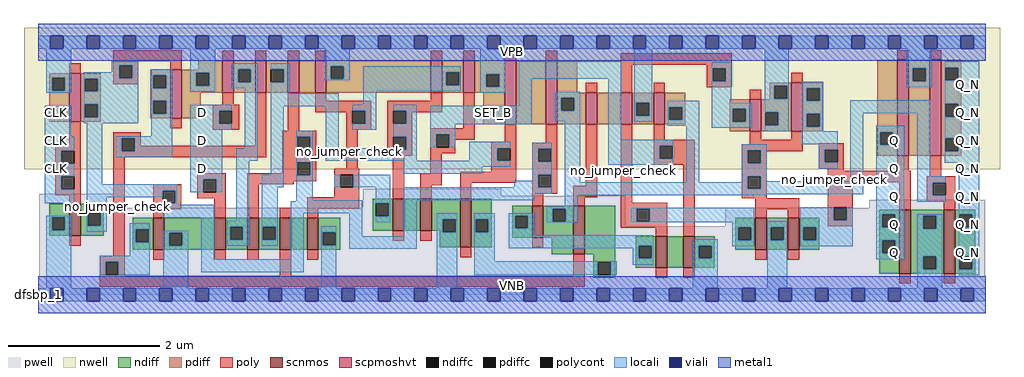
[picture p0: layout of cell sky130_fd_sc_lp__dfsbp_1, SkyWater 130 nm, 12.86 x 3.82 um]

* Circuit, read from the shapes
.subckt sky130_fd_sc_lp__dfsbp_1 CLK D SET_B VGND VNB VPB VPWR Q Q_N
XM1 n1 CLK VGND VNB sky130_fd_pr__nfet_01v8 w=0.42 l=0.15
XM2 VGND n1 n2 VNB sky130_fd_pr__nfet_01v8 w=0.42 l=0.15
XM3 n3 D VGND VNB sky130_fd_pr__nfet_01v8 w=0.42 l=0.15
XM4 n4 n1 n3 VNB sky130_fd_pr__nfet_01v8 w=0.42 l=0.15
XM5 n5 n2 n4 VNB sky130_fd_pr__nfet_01v8 w=0.42 l=0.15
XM6 VGND n6 n5 VNB sky130_fd_pr__nfet_01v8 w=0.42 l=0.15
XM7 n7 n4 n6 VNB sky130_fd_pr__nfet_01v8 w=0.42 l=0.15
XM8 VGND SET_B n7 VNB sky130_fd_pr__nfet_01v8 w=0.42 l=0.15
XM9 n8 n4 VGND VNB sky130_fd_pr__nfet_01v8 w=0.64 l=0.15
XM10 n9 n1 n10 VNB sky130_fd_pr__nfet_01v8 w=0.42 l=0.15
XM11 n8 n2 n9 VNB sky130_fd_pr__nfet_01v8 w=0.64 l=0.15
XM12 n11 n12 n10 VNB sky130_fd_pr__nfet_01v8 w=0.42 l=0.15
XM13 VGND SET_B n11 VNB sky130_fd_pr__nfet_01v8 w=0.42 l=0.15
XM14 VGND n9 n12 VNB sky130_fd_pr__nfet_01v8 w=0.42 l=0.15
XM15 n13 n9 VGND VNB sky130_fd_pr__nfet_01v8 w=0.42 l=0.15
XM16 VGND n13 Q VNB sky130_fd_pr__nfet_01v8 w=0.84 l=0.15
XM17 Q_N n9 VGND VNB sky130_fd_pr__nfet_01v8 w=0.84 l=0.15
XM18 n1 CLK VPWR VPB sky130_fd_pr__pfet_01v8_hvt w=0.64 l=0.15
XM19 VPWR n1 n2 VPB sky130_fd_pr__pfet_01v8_hvt w=0.64 l=0.15
XM20 n3 D VPWR VPB sky130_fd_pr__pfet_01v8_hvt w=0.42 l=0.15
XM21 n4 n2 n3 VPB sky130_fd_pr__pfet_01v8_hvt w=0.42 l=0.15
XM22 n14 n1 n4 VPB sky130_fd_pr__pfet_01v8_hvt w=0.42 l=0.15
XM23 VPWR n6 n14 VPB sky130_fd_pr__pfet_01v8_hvt w=0.42 l=0.15
XM24 n6 n4 VPWR VPB sky130_fd_pr__pfet_01v8_hvt w=0.42 l=0.15
XM25 VPWR SET_B n6 VPB sky130_fd_pr__pfet_01v8_hvt w=0.42 l=0.15
XM26 n15 n4 VPWR VPB sky130_fd_pr__pfet_01v8_hvt w=0.84 l=0.15
XM27 n9 n1 n15 VPB sky130_fd_pr__pfet_01v8_hvt w=0.84 l=0.15
XM28 n16 n2 n9 VPB sky130_fd_pr__pfet_01v8_hvt w=0.42 l=0.15
XM29 VPWR n12 n16 VPB sky130_fd_pr__pfet_01v8_hvt w=0.42 l=0.15
XM30 n9 SET_B VPWR VPB sky130_fd_pr__pfet_01v8_hvt w=0.42 l=0.15
XM31 VPWR n9 n12 VPB sky130_fd_pr__pfet_01v8_hvt w=0.42 l=0.15
XM32 n13 n9 VPWR VPB sky130_fd_pr__pfet_01v8_hvt w=0.64 l=0.15
XM33 VPWR n13 Q VPB sky130_fd_pr__pfet_01v8_hvt w=1.26 l=0.15
XM34 Q_N n9 VPWR VPB sky130_fd_pr__pfet_01v8_hvt w=1.26 l=0.15
.ends

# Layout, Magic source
magic
tech sky130A
magscale 1 2
<< nwell >>
rect -38 331 2534 704
<< pwell >>
rect 2 229 198 266
rect 855 261 1220 279
rect 855 229 1546 261
rect 2190 229 2495 250
rect 2 181 1546 229
rect 1810 181 2495 229
rect 2 49 2495 181
rect 0 0 2496 49
<< scnmos >>
rect 81 156 111 240
rect 302 119 332 203
rect 464 119 494 203
rect 550 119 580 203
rect 636 119 666 203
rect 708 119 738 203
rect 934 169 964 253
rect 1006 169 1036 253
rect 1111 125 1141 253
rect 1301 151 1331 235
rect 1410 107 1440 235
rect 1627 71 1657 155
rect 1699 71 1729 155
rect 1889 119 1919 203
rect 1975 119 2005 203
rect 2269 56 2299 224
rect 2386 56 2416 224
<< scpmoshvt >>
rect 81 456 111 584
rect 348 465 378 593
rect 485 533 515 617
rect 571 533 601 617
rect 657 533 687 617
rect 729 533 759 617
rect 1034 533 1064 617
rect 1120 533 1150 617
rect 1229 449 1259 617
rect 1337 449 1367 617
rect 1442 449 1472 533
rect 1535 449 1565 533
rect 1621 449 1651 533
rect 1875 431 1905 515
rect 1984 431 2014 559
rect 2263 367 2293 619
rect 2349 367 2379 619
<< ndiff >>
rect 28 204 81 240
rect 28 170 36 204
rect 70 170 81 204
rect 28 156 81 170
rect 111 216 172 240
rect 111 182 130 216
rect 164 182 172 216
rect 111 156 172 182
rect 881 241 934 253
rect 881 207 889 241
rect 923 207 934 241
rect 249 173 302 203
rect 249 139 257 173
rect 291 139 302 173
rect 249 119 302 139
rect 332 164 464 203
rect 332 130 345 164
rect 379 130 464 164
rect 332 119 464 130
rect 494 179 550 203
rect 494 145 505 179
rect 539 145 550 179
rect 494 119 550 145
rect 580 179 636 203
rect 580 145 591 179
rect 625 145 636 179
rect 580 119 636 145
rect 666 119 708 203
rect 738 165 795 203
rect 881 169 934 207
rect 964 169 1006 253
rect 1036 199 1111 253
rect 1036 169 1066 199
rect 738 131 749 165
rect 783 131 795 165
rect 1058 165 1066 169
rect 1100 165 1111 199
rect 738 119 795 131
rect 1058 125 1111 165
rect 1141 199 1194 253
rect 1141 165 1152 199
rect 1186 165 1194 199
rect 1141 125 1194 165
rect 1248 209 1301 235
rect 1248 175 1256 209
rect 1290 175 1301 209
rect 1248 151 1301 175
rect 1331 227 1410 235
rect 1331 193 1356 227
rect 1390 193 1410 227
rect 1331 151 1410 193
rect 1353 107 1410 151
rect 1440 107 1520 235
rect 1836 178 1889 203
rect 1462 87 1520 107
rect 1462 53 1474 87
rect 1508 53 1520 87
rect 1574 130 1627 155
rect 1574 96 1582 130
rect 1616 96 1627 130
rect 1574 71 1627 96
rect 1657 71 1699 155
rect 1729 130 1782 155
rect 1729 96 1740 130
rect 1774 96 1782 130
rect 1836 144 1844 178
rect 1878 144 1889 178
rect 1836 119 1889 144
rect 1919 178 1975 203
rect 1919 144 1930 178
rect 1964 144 1975 178
rect 1919 119 1975 144
rect 2005 178 2058 203
rect 2216 212 2269 224
rect 2005 144 2016 178
rect 2050 144 2058 178
rect 2005 119 2058 144
rect 2216 178 2224 212
rect 2258 178 2269 212
rect 2216 144 2269 178
rect 1729 71 1782 96
rect 2216 110 2224 144
rect 2258 110 2269 144
rect 1462 45 1520 53
rect 2216 56 2269 110
rect 2299 208 2386 224
rect 2299 174 2332 208
rect 2366 174 2386 208
rect 2299 102 2386 174
rect 2299 68 2332 102
rect 2366 68 2386 102
rect 2299 56 2386 68
rect 2416 212 2469 224
rect 2416 178 2427 212
rect 2461 178 2469 212
rect 2416 102 2469 178
rect 2416 68 2427 102
rect 2461 68 2469 102
rect 2416 56 2469 68
<< pdiff >>
rect 28 572 81 584
rect 28 538 36 572
rect 70 538 81 572
rect 28 456 81 538
rect 111 570 164 584
rect 111 536 122 570
rect 156 536 164 570
rect 421 593 485 617
rect 295 579 348 593
rect 111 502 164 536
rect 111 468 122 502
rect 156 468 164 502
rect 111 456 164 468
rect 295 545 303 579
rect 337 545 348 579
rect 295 511 348 545
rect 295 477 303 511
rect 337 477 348 511
rect 295 465 348 477
rect 378 585 485 593
rect 378 551 416 585
rect 450 551 485 585
rect 378 533 485 551
rect 515 594 571 617
rect 515 560 526 594
rect 560 560 571 594
rect 515 533 571 560
rect 601 594 657 617
rect 601 560 612 594
rect 646 560 657 594
rect 601 533 657 560
rect 687 533 729 617
rect 759 603 1034 617
rect 759 569 770 603
rect 804 569 1034 603
rect 759 533 1034 569
rect 1064 587 1120 617
rect 1064 553 1075 587
rect 1109 553 1120 587
rect 1064 533 1120 553
rect 1150 582 1229 617
rect 1150 548 1180 582
rect 1214 548 1229 582
rect 1150 533 1229 548
rect 378 465 428 533
rect 1172 449 1229 533
rect 1259 449 1337 617
rect 1367 533 1420 617
rect 1927 551 1984 559
rect 1367 519 1442 533
rect 1367 485 1378 519
rect 1412 485 1442 519
rect 1367 449 1442 485
rect 1472 449 1535 533
rect 1565 506 1621 533
rect 1565 472 1576 506
rect 1610 472 1621 506
rect 1565 449 1621 472
rect 1651 495 1704 533
rect 1927 517 1939 551
rect 1973 517 1984 551
rect 1927 515 1984 517
rect 1651 461 1662 495
rect 1696 461 1704 495
rect 1651 449 1704 461
rect 1822 490 1875 515
rect 1822 456 1830 490
rect 1864 456 1875 490
rect 1822 431 1875 456
rect 1905 481 1984 515
rect 1905 447 1916 481
rect 1950 447 1984 481
rect 1905 431 1984 447
rect 2014 545 2067 559
rect 2014 511 2025 545
rect 2059 511 2067 545
rect 2014 477 2067 511
rect 2014 443 2025 477
rect 2059 443 2067 477
rect 2014 431 2067 443
rect 2210 429 2263 619
rect 2210 395 2218 429
rect 2252 395 2263 429
rect 2210 367 2263 395
rect 2293 597 2349 619
rect 2293 563 2304 597
rect 2338 563 2349 597
rect 2293 367 2349 563
rect 2379 599 2432 619
rect 2379 565 2390 599
rect 2424 565 2432 599
rect 2379 503 2432 565
rect 2379 469 2390 503
rect 2424 469 2432 503
rect 2379 413 2432 469
rect 2379 379 2390 413
rect 2424 379 2432 413
rect 2379 367 2432 379
<< ndiffc >>
rect 36 170 70 204
rect 130 182 164 216
rect 889 207 923 241
rect 257 139 291 173
rect 345 130 379 164
rect 505 145 539 179
rect 591 145 625 179
rect 749 131 783 165
rect 1066 165 1100 199
rect 1152 165 1186 199
rect 1256 175 1290 209
rect 1356 193 1390 227
rect 1474 53 1508 87
rect 1582 96 1616 130
rect 1740 96 1774 130
rect 1844 144 1878 178
rect 1930 144 1964 178
rect 2016 144 2050 178
rect 2224 178 2258 212
rect 2224 110 2258 144
rect 2332 174 2366 208
rect 2332 68 2366 102
rect 2427 178 2461 212
rect 2427 68 2461 102
<< pdiffc >>
rect 36 538 70 572
rect 122 536 156 570
rect 122 468 156 502
rect 303 545 337 579
rect 303 477 337 511
rect 416 551 450 585
rect 526 560 560 594
rect 612 560 646 594
rect 770 569 804 603
rect 1075 553 1109 587
rect 1180 548 1214 582
rect 1378 485 1412 519
rect 1576 472 1610 506
rect 1939 517 1973 551
rect 1662 461 1696 495
rect 1830 456 1864 490
rect 1916 447 1950 481
rect 2025 511 2059 545
rect 2025 443 2059 477
rect 2218 395 2252 429
rect 2304 563 2338 597
rect 2390 565 2424 599
rect 2390 469 2424 503
rect 2390 379 2424 413
<< poly >>
rect 197 615 378 645
rect 485 617 515 643
rect 571 617 601 643
rect 657 617 687 643
rect 729 617 759 643
rect 1034 617 1064 643
rect 1120 617 1150 643
rect 1229 617 1259 643
rect 1337 617 1367 643
rect 81 584 111 610
rect 197 605 263 615
rect 197 571 213 605
rect 247 571 263 605
rect 348 593 378 615
rect 197 555 263 571
rect 485 501 515 533
rect 460 485 529 501
rect 81 396 111 456
rect 348 439 378 465
rect 460 451 476 485
rect 510 451 529 485
rect 460 435 529 451
rect 44 380 111 396
rect 44 346 60 380
rect 94 346 111 380
rect 44 312 111 346
rect 44 278 60 312
rect 94 278 111 312
rect 44 262 111 278
rect 81 240 111 262
rect 197 413 270 429
rect 197 379 220 413
rect 254 393 270 413
rect 571 393 601 533
rect 657 433 687 533
rect 729 511 759 533
rect 1034 511 1064 533
rect 729 485 877 511
rect 729 481 827 485
rect 811 451 827 481
rect 861 451 877 485
rect 811 435 877 451
rect 919 485 1064 511
rect 919 451 935 485
rect 969 481 1064 485
rect 969 451 985 481
rect 254 379 601 393
rect 197 363 601 379
rect 643 417 732 433
rect 643 383 682 417
rect 716 383 732 417
rect 81 130 111 156
rect 197 103 227 363
rect 643 349 732 383
rect 643 321 682 349
rect 419 305 494 321
rect 302 275 377 291
rect 302 241 327 275
rect 361 241 377 275
rect 419 271 435 305
rect 469 271 494 305
rect 419 255 494 271
rect 302 225 377 241
rect 302 203 332 225
rect 464 203 494 255
rect 550 315 682 321
rect 716 315 732 349
rect 811 333 841 435
rect 919 417 985 451
rect 1120 439 1150 533
rect 1535 607 1827 637
rect 2263 619 2293 645
rect 2349 619 2379 645
rect 1442 533 1472 559
rect 1535 533 1565 607
rect 1761 597 1827 607
rect 1761 563 1777 597
rect 1811 563 1827 597
rect 1621 533 1651 559
rect 1761 547 1827 563
rect 1984 559 2014 585
rect 1875 515 1905 541
rect 919 383 935 417
rect 969 383 985 417
rect 919 367 985 383
rect 1033 423 1150 439
rect 1033 389 1049 423
rect 1083 409 1150 423
rect 1083 389 1099 409
rect 1229 403 1259 449
rect 1033 373 1099 389
rect 1193 387 1259 403
rect 1337 401 1367 449
rect 550 299 732 315
rect 780 317 846 333
rect 550 291 673 299
rect 550 203 580 291
rect 780 283 796 317
rect 830 283 846 317
rect 780 257 846 283
rect 636 203 666 229
rect 708 227 846 257
rect 934 253 964 367
rect 1033 319 1063 373
rect 1193 353 1209 387
rect 1243 353 1259 387
rect 1193 325 1259 353
rect 1006 289 1063 319
rect 1111 295 1259 325
rect 1301 385 1367 401
rect 1301 351 1317 385
rect 1351 351 1367 385
rect 1301 317 1367 351
rect 1006 253 1036 289
rect 1111 253 1141 295
rect 1301 283 1317 317
rect 1351 283 1367 317
rect 1442 287 1472 449
rect 1301 267 1367 283
rect 708 203 738 227
rect 934 143 964 169
rect 1006 143 1036 169
rect 1301 235 1331 267
rect 1410 257 1472 287
rect 1410 235 1440 257
rect 1535 243 1565 449
rect 1621 409 1651 449
rect 1875 409 1905 431
rect 1984 409 2014 431
rect 1621 393 1729 409
rect 1875 397 2014 409
rect 1621 359 1637 393
rect 1671 359 1729 393
rect 1621 343 1729 359
rect 1301 125 1331 151
rect 161 87 227 103
rect 302 93 332 119
rect 464 93 494 119
rect 550 93 580 119
rect 161 53 177 87
rect 211 53 227 87
rect 161 51 227 53
rect 636 51 666 119
rect 708 93 738 119
rect 1111 99 1141 125
rect 1535 227 1657 243
rect 1535 193 1577 227
rect 1611 193 1657 227
rect 1535 177 1657 193
rect 1627 155 1657 177
rect 1699 155 1729 343
rect 1853 381 2014 397
rect 1853 347 1869 381
rect 1903 379 2014 381
rect 2056 383 2122 399
rect 1903 347 1919 379
rect 1853 313 1919 347
rect 2056 349 2072 383
rect 2106 349 2122 383
rect 2056 333 2122 349
rect 1853 279 1869 313
rect 1903 279 1919 313
rect 1853 255 1919 279
rect 2080 327 2122 333
rect 2263 327 2293 367
rect 2080 297 2299 327
rect 2349 312 2379 367
rect 1889 225 2005 255
rect 1889 203 1919 225
rect 1975 203 2005 225
rect 2080 231 2146 297
rect 1410 51 1440 107
rect 161 21 1440 51
rect 2080 197 2096 231
rect 2130 197 2146 231
rect 2269 224 2299 297
rect 2341 296 2416 312
rect 2341 262 2357 296
rect 2391 262 2416 296
rect 2341 246 2416 262
rect 2386 224 2416 246
rect 2080 181 2146 197
rect 1889 93 1919 119
rect 1975 93 2005 119
rect 1627 45 1657 71
rect 1699 45 1729 71
rect 2269 30 2299 56
rect 2386 30 2416 56
<< polycont >>
rect 213 571 247 605
rect 476 451 510 485
rect 60 346 94 380
rect 60 278 94 312
rect 220 379 254 413
rect 827 451 861 485
rect 935 451 969 485
rect 682 383 716 417
rect 327 241 361 275
rect 435 271 469 305
rect 682 315 716 349
rect 1777 563 1811 597
rect 935 383 969 417
rect 1049 389 1083 423
rect 796 283 830 317
rect 1209 353 1243 387
rect 1317 351 1351 385
rect 1317 283 1351 317
rect 1637 359 1671 393
rect 177 53 211 87
rect 1577 193 1611 227
rect 1869 347 1903 381
rect 2072 349 2106 383
rect 1869 279 1903 313
rect 2096 197 2130 231
rect 2357 262 2391 296
<< locali >>
rect 0 649 31 683
rect 65 649 127 683
rect 161 649 223 683
rect 257 649 319 683
rect 353 649 415 683
rect 449 649 511 683
rect 545 649 607 683
rect 641 649 703 683
rect 737 649 799 683
rect 833 649 895 683
rect 929 649 991 683
rect 1025 649 1087 683
rect 1121 649 1183 683
rect 1217 649 1279 683
rect 1313 649 1375 683
rect 1409 649 1471 683
rect 1505 649 1567 683
rect 1601 649 1663 683
rect 1697 649 1759 683
rect 1793 649 1855 683
rect 1889 649 1951 683
rect 1985 649 2047 683
rect 2081 649 2143 683
rect 2177 649 2239 683
rect 2273 649 2335 683
rect 2369 649 2431 683
rect 2465 649 2496 683
rect 20 572 86 649
rect 193 605 263 615
rect 193 586 213 605
rect 20 538 36 572
rect 70 538 86 572
rect 20 532 86 538
rect 120 571 213 586
rect 247 571 263 605
rect 120 570 263 571
rect 120 536 122 570
rect 156 536 263 570
rect 120 502 263 536
rect 17 418 86 498
rect 120 468 122 502
rect 156 468 263 502
rect 120 452 263 468
rect 297 579 353 595
rect 297 545 303 579
rect 337 545 353 579
rect 297 511 353 545
rect 400 585 466 649
rect 400 551 416 585
rect 450 551 466 585
rect 400 535 466 551
rect 510 594 578 610
rect 510 560 526 594
rect 560 560 578 594
rect 510 544 578 560
rect 297 477 303 511
rect 337 477 353 511
rect 17 380 94 418
rect 17 346 60 380
rect 17 312 94 346
rect 17 278 60 312
rect 17 242 94 278
rect 128 291 168 452
rect 297 418 353 477
rect 204 413 353 418
rect 204 379 220 413
rect 254 379 353 413
rect 204 363 353 379
rect 400 485 510 501
rect 400 451 476 485
rect 400 435 510 451
rect 400 305 485 435
rect 544 387 578 544
rect 128 275 366 291
rect 128 257 327 275
rect 128 216 180 257
rect 20 204 86 208
rect 20 170 36 204
rect 70 170 86 204
rect 20 17 86 170
rect 128 182 130 216
rect 164 182 180 216
rect 361 241 366 275
rect 400 271 435 305
rect 469 271 485 305
rect 521 353 578 387
rect 612 594 662 610
rect 646 560 662 594
rect 754 603 820 649
rect 754 569 770 603
rect 804 569 820 603
rect 754 565 820 569
rect 856 587 1113 603
rect 612 531 662 560
rect 856 553 1075 587
rect 1109 553 1113 587
rect 856 537 1113 553
rect 1164 582 1230 649
rect 1164 548 1180 582
rect 1214 548 1230 582
rect 612 497 791 531
rect 856 501 890 537
rect 1164 532 1230 548
rect 1266 569 1536 615
rect 327 237 366 241
rect 327 203 463 237
rect 128 166 180 182
rect 241 173 293 189
rect 241 139 257 173
rect 291 139 293 173
rect 241 103 293 139
rect 161 87 293 103
rect 161 53 177 87
rect 211 53 293 87
rect 329 164 395 169
rect 329 130 345 164
rect 379 130 395 164
rect 329 17 395 130
rect 429 94 463 203
rect 521 195 555 353
rect 612 317 646 497
rect 497 179 555 195
rect 497 145 505 179
rect 539 145 555 179
rect 497 129 555 145
rect 589 283 646 317
rect 680 417 723 433
rect 680 383 682 417
rect 716 383 723 417
rect 680 349 723 383
rect 757 387 791 497
rect 827 485 890 501
rect 861 451 890 485
rect 827 435 890 451
rect 935 485 997 501
rect 1266 498 1300 569
rect 969 451 997 485
rect 935 417 997 451
rect 757 383 935 387
rect 969 383 997 417
rect 1033 449 1300 498
rect 1362 519 1428 535
rect 1362 485 1378 519
rect 1412 485 1428 519
rect 1362 457 1428 485
rect 1033 423 1099 449
rect 1033 389 1049 423
rect 1083 389 1099 423
rect 757 353 997 383
rect 1135 387 1243 403
rect 1135 353 1209 387
rect 680 315 682 349
rect 716 315 723 349
rect 963 337 1243 353
rect 1301 385 1353 401
rect 1301 351 1317 385
rect 1351 351 1353 385
rect 963 319 1169 337
rect 1301 317 1353 351
rect 589 179 631 283
rect 680 249 723 315
rect 780 283 796 317
rect 830 283 927 317
rect 1301 301 1317 317
rect 1254 283 1317 301
rect 1351 283 1353 317
rect 680 247 853 249
rect 589 145 591 179
rect 625 145 631 179
rect 589 129 631 145
rect 665 215 853 247
rect 665 94 699 215
rect 429 60 699 94
rect 745 165 785 181
rect 745 131 749 165
rect 783 131 785 165
rect 745 17 785 131
rect 819 155 853 215
rect 889 241 927 283
rect 923 207 927 241
rect 889 191 927 207
rect 963 267 1353 283
rect 1387 297 1428 457
rect 1502 409 1536 569
rect 1570 506 1618 649
rect 1775 597 1826 613
rect 1775 563 1777 597
rect 1811 563 1826 597
rect 1570 472 1576 506
rect 1610 472 1618 506
rect 1570 456 1618 472
rect 1658 495 1741 511
rect 1658 461 1662 495
rect 1696 461 1741 495
rect 1658 445 1741 461
rect 1502 393 1673 409
rect 1502 359 1637 393
rect 1671 359 1673 393
rect 1502 343 1673 359
rect 1707 297 1741 445
rect 1775 506 1826 563
rect 1914 551 1977 649
rect 2288 597 2354 649
rect 2288 563 2304 597
rect 2338 563 2354 597
rect 1914 517 1939 551
rect 1973 517 1977 551
rect 1775 490 1880 506
rect 1775 456 1830 490
rect 1864 456 1880 490
rect 1775 440 1880 456
rect 1914 481 1977 517
rect 1914 447 1916 481
rect 1950 447 1977 481
rect 1914 431 1977 447
rect 2011 545 2068 561
rect 2288 547 2354 563
rect 2388 599 2479 615
rect 2388 565 2390 599
rect 2424 565 2479 599
rect 2011 511 2025 545
rect 2059 511 2068 545
rect 2011 477 2068 511
rect 2011 443 2025 477
rect 2059 443 2068 477
rect 2011 431 2068 443
rect 2140 479 2350 513
rect 2011 397 2106 431
rect 1853 381 1919 397
rect 1853 347 1869 381
rect 1903 347 1919 381
rect 1853 313 1919 347
rect 2056 383 2106 397
rect 2056 349 2072 383
rect 2056 333 2106 349
rect 1853 297 1869 313
rect 1387 279 1869 297
rect 1903 299 1919 313
rect 2140 299 2174 479
rect 1903 279 2174 299
rect 963 249 1306 267
rect 1387 265 2174 279
rect 2208 429 2282 445
rect 2208 395 2218 429
rect 2252 395 2282 429
rect 1387 263 1919 265
rect 963 155 997 249
rect 1387 233 1421 263
rect 1340 227 1421 233
rect 819 121 997 155
rect 1050 199 1104 215
rect 1050 165 1066 199
rect 1100 165 1104 199
rect 1050 17 1104 165
rect 1148 199 1202 215
rect 1148 165 1152 199
rect 1186 165 1202 199
rect 1148 89 1202 165
rect 1240 209 1306 215
rect 1240 175 1256 209
rect 1290 175 1306 209
rect 1340 193 1356 227
rect 1390 193 1421 227
rect 1340 191 1421 193
rect 1561 227 1887 229
rect 1561 193 1577 227
rect 1611 193 1887 227
rect 2007 197 2096 231
rect 2130 197 2146 231
rect 1561 191 1887 193
rect 1240 157 1306 175
rect 1828 178 1887 191
rect 1240 130 1620 157
rect 1240 123 1582 130
rect 1566 96 1582 123
rect 1616 96 1620 130
rect 1148 87 1524 89
rect 1148 53 1474 87
rect 1508 53 1524 87
rect 1566 80 1620 96
rect 1724 130 1790 146
rect 1724 96 1740 130
rect 1774 96 1790 130
rect 1828 144 1844 178
rect 1878 144 1887 178
rect 1828 128 1887 144
rect 1921 178 1973 194
rect 1921 144 1930 178
rect 1964 144 1973 178
rect 1724 17 1790 96
rect 1921 17 1973 144
rect 2007 178 2146 197
rect 2007 144 2016 178
rect 2050 144 2146 178
rect 2007 128 2146 144
rect 2208 212 2282 395
rect 2316 312 2350 479
rect 2388 503 2479 565
rect 2388 469 2390 503
rect 2424 469 2479 503
rect 2388 413 2479 469
rect 2388 379 2390 413
rect 2424 379 2479 413
rect 2388 348 2479 379
rect 2316 296 2391 312
rect 2316 262 2357 296
rect 2316 246 2391 262
rect 2425 212 2479 348
rect 2208 178 2224 212
rect 2258 178 2282 212
rect 2208 144 2282 178
rect 2208 110 2224 144
rect 2258 110 2282 144
rect 2208 94 2282 110
rect 2316 208 2382 212
rect 2316 174 2332 208
rect 2366 174 2382 208
rect 2316 102 2382 174
rect 2316 68 2332 102
rect 2366 68 2382 102
rect 2316 17 2382 68
rect 2425 178 2427 212
rect 2461 178 2479 212
rect 2425 102 2479 178
rect 2425 68 2427 102
rect 2461 68 2479 102
rect 2425 52 2479 68
rect 0 -17 31 17
rect 65 -17 127 17
rect 161 -17 223 17
rect 257 -17 319 17
rect 353 -17 415 17
rect 449 -17 511 17
rect 545 -17 607 17
rect 641 -17 703 17
rect 737 -17 799 17
rect 833 -17 895 17
rect 929 -17 991 17
rect 1025 -17 1087 17
rect 1121 -17 1183 17
rect 1217 -17 1279 17
rect 1313 -17 1375 17
rect 1409 -17 1471 17
rect 1505 -17 1567 17
rect 1601 -17 1663 17
rect 1697 -17 1759 17
rect 1793 -17 1855 17
rect 1889 -17 1951 17
rect 1985 -17 2047 17
rect 2081 -17 2143 17
rect 2177 -17 2239 17
rect 2273 -17 2335 17
rect 2369 -17 2431 17
rect 2465 -17 2496 17
<< viali >>
rect 31 649 65 683
rect 127 649 161 683
rect 223 649 257 683
rect 319 649 353 683
rect 415 649 449 683
rect 511 649 545 683
rect 607 649 641 683
rect 703 649 737 683
rect 799 649 833 683
rect 895 649 929 683
rect 991 649 1025 683
rect 1087 649 1121 683
rect 1183 649 1217 683
rect 1279 649 1313 683
rect 1375 649 1409 683
rect 1471 649 1505 683
rect 1567 649 1601 683
rect 1663 649 1697 683
rect 1759 649 1793 683
rect 1855 649 1889 683
rect 1951 649 1985 683
rect 2047 649 2081 683
rect 2143 649 2177 683
rect 2239 649 2273 683
rect 2335 649 2369 683
rect 2431 649 2465 683
rect 31 -17 65 17
rect 127 -17 161 17
rect 223 -17 257 17
rect 319 -17 353 17
rect 415 -17 449 17
rect 511 -17 545 17
rect 607 -17 641 17
rect 703 -17 737 17
rect 799 -17 833 17
rect 895 -17 929 17
rect 991 -17 1025 17
rect 1087 -17 1121 17
rect 1183 -17 1217 17
rect 1279 -17 1313 17
rect 1375 -17 1409 17
rect 1471 -17 1505 17
rect 1567 -17 1601 17
rect 1663 -17 1697 17
rect 1759 -17 1793 17
rect 1855 -17 1889 17
rect 1951 -17 1985 17
rect 2047 -17 2081 17
rect 2143 -17 2177 17
rect 2239 -17 2273 17
rect 2335 -17 2369 17
rect 2431 -17 2465 17
<< metal1 >>
rect 0 683 2496 715
rect 0 649 31 683
rect 65 649 127 683
rect 161 649 223 683
rect 257 649 319 683
rect 353 649 415 683
rect 449 649 511 683
rect 545 649 607 683
rect 641 649 703 683
rect 737 649 799 683
rect 833 649 895 683
rect 929 649 991 683
rect 1025 649 1087 683
rect 1121 649 1183 683
rect 1217 649 1279 683
rect 1313 649 1375 683
rect 1409 649 1471 683
rect 1505 649 1567 683
rect 1601 649 1663 683
rect 1697 649 1759 683
rect 1793 649 1855 683
rect 1889 649 1951 683
rect 1985 649 2047 683
rect 2081 649 2143 683
rect 2177 649 2239 683
rect 2273 649 2335 683
rect 2369 649 2431 683
rect 2465 649 2496 683
rect 0 617 2496 649
rect 0 17 2496 49
rect 0 -17 31 17
rect 65 -17 127 17
rect 161 -17 223 17
rect 257 -17 319 17
rect 353 -17 415 17
rect 449 -17 511 17
rect 545 -17 607 17
rect 641 -17 703 17
rect 737 -17 799 17
rect 833 -17 895 17
rect 929 -17 991 17
rect 1025 -17 1087 17
rect 1121 -17 1183 17
rect 1217 -17 1279 17
rect 1313 -17 1375 17
rect 1409 -17 1471 17
rect 1505 -17 1567 17
rect 1601 -17 1663 17
rect 1697 -17 1759 17
rect 1793 -17 1855 17
rect 1889 -17 1951 17
rect 1985 -17 2047 17
rect 2081 -17 2143 17
rect 2177 -17 2239 17
rect 2273 -17 2335 17
rect 2369 -17 2431 17
rect 2465 -17 2496 17
rect 0 -49 2496 -17
<< labels >>
flabel pwell s 0 0 2496 49 0 FreeSans 200 0 0 0 VNB
port 5 nsew ground bidirectional
flabel nwell s 0 617 2496 666 0 FreeSans 200 0 0 0 VPB
port 6 nsew power bidirectional
flabel comment s 2098 305 2098 305 0 FreeSans 200 90 0 0 no_jumper_check
flabel comment s 1542 328 1542 328 0 FreeSans 200 90 0 0 no_jumper_check
rlabel comment s 0 0 0 0 4 dfsbp_1
flabel comment s 208 233 208 233 0 FreeSans 200 90 0 0 no_jumper_check
flabel comment s 821 379 821 379 0 FreeSans 200 90 0 0 no_jumper_check
flabel metal1 s 0 617 2496 666 0 FreeSans 340 0 0 0 VPWR
port 7 nsew power bidirectional
flabel metal1 s 0 0 2496 49 0 FreeSans 340 0 0 0 VGND
port 4 nsew ground bidirectional
flabel locali s 1183 464 1217 498 0 FreeSans 340 0 0 0 SET_B
port 3 nsew signal input
flabel locali s 31 242 65 276 0 FreeSans 340 0 0 0 CLK
port 1 nsew clock input
flabel locali s 31 316 65 350 0 FreeSans 340 0 0 0 CLK
port 1 nsew clock input
flabel locali s 31 390 65 424 0 FreeSans 340 0 0 0 CLK
port 1 nsew clock input
flabel locali s 31 464 65 498 0 FreeSans 340 0 0 0 CLK
port 1 nsew clock input
flabel locali s 415 316 449 350 0 FreeSans 340 0 0 0 D
port 2 nsew signal input
flabel locali s 415 390 449 424 0 FreeSans 340 0 0 0 D
port 2 nsew signal input
flabel locali s 415 464 449 498 0 FreeSans 340 0 0 0 D
port 2 nsew signal input
flabel locali s 2239 94 2273 128 0 FreeSans 340 0 0 0 Q
port 8 nsew signal output
flabel locali s 2239 168 2273 202 0 FreeSans 340 0 0 0 Q
port 8 nsew signal output
flabel locali s 2239 242 2273 276 0 FreeSans 340 0 0 0 Q
port 8 nsew signal output
flabel locali s 2239 316 2273 350 0 FreeSans 340 0 0 0 Q
port 8 nsew signal output
flabel locali s 2239 390 2273 424 0 FreeSans 340 0 0 0 Q
port 8 nsew signal output
flabel locali s 2431 94 2465 128 0 FreeSans 340 0 0 0 Q_N
port 9 nsew signal output
flabel locali s 2431 168 2465 202 0 FreeSans 340 0 0 0 Q_N
port 9 nsew signal output
flabel locali s 2431 242 2465 276 0 FreeSans 340 0 0 0 Q_N
port 9 nsew signal output
flabel locali s 2431 316 2465 350 0 FreeSans 340 0 0 0 Q_N
port 9 nsew signal output
flabel locali s 2431 390 2465 424 0 FreeSans 340 0 0 0 Q_N
port 9 nsew signal output
flabel locali s 2431 464 2465 498 0 FreeSans 340 0 0 0 Q_N
port 9 nsew signal output
flabel locali s 2431 538 2465 572 0 FreeSans 340 0 0 0 Q_N
port 9 nsew signal output
<< properties >>
string LEFsite unit
string LEFclass CORE
string FIXED_BBOX 0 0 2496 666
string GDS_FILE $PDKPATH/libs.ref/sky130_fd_sc_lp/gds/sky130_fd_sc_lp.gds
string LEFsymmetry X Y R90
string GDS_END 2344728
string GDS_START 2325736
<< end >>
